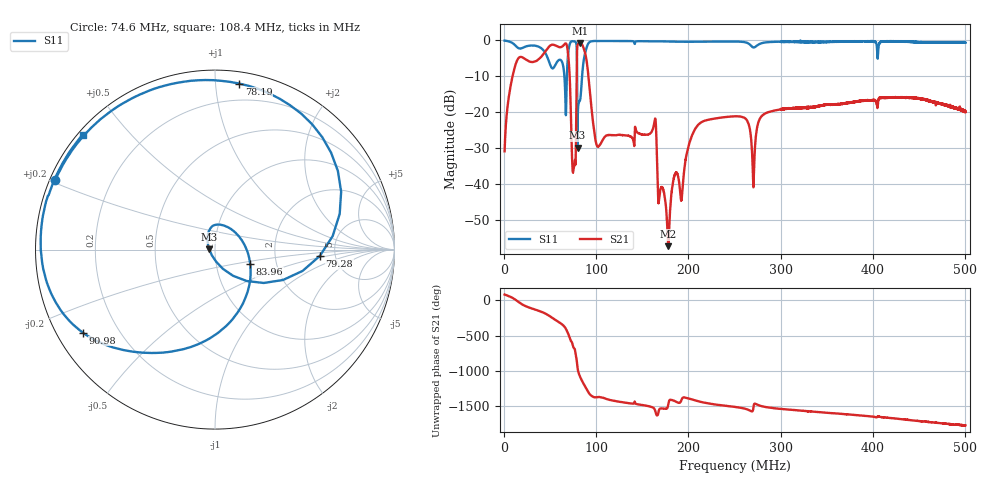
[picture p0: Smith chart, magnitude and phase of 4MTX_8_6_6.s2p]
! NanoVNA-App
! Date: 2026-08-18 21:33:03
! Start: 1MHz Stop: 500MHz Points: 6401
! S-Parameter data: F S11 S21 S12 S22
# Hz S RI R 50
!  Frequency  S11_Real  S11_Imag  S21_Real  S21_Imag  S12_Real  S12_Imag  S22_Real  S22_Imag
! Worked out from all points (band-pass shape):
!   6401 points, 1 MHz to 500 MHz, reference 50 ohm
!   highest |S21| = -0.77 dB at 82.48 MHz (marker M1); lowest = -57.4 dB at 178.2 MHz (marker M2)
!   |S21| within 3 dB of the highest: 43.21 MHz to 69.7 MHz (26.49 MHz wide, 46.9 % of centre); 79.39 MHz to 88.37 MHz (8.974 MHz wide, 10.7 % of centre)
!   lowest |S11| = -29.9 dB at 79.98 MHz (marker M3), VSWR 1.07, Z = 46.9 + j0.138 ohm
!   |S11| at or under -10 dB: 65.74 MHz to 68.46 MHz (2.723 MHz wide, 4.06 % of centre); 79.53 MHz to 84.9 MHz (5.373 MHz wide, 6.54 % of centre)
!   S12 and S22 are empty: the file has one direction only
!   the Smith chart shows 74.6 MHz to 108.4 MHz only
!   S11 on the Smith chart (normalised r, x): 74.6 MHz: 0.02, +0.21; 78.19 MHz: 0.08, +1.15; 79.28 MHz: 3.78, -0.40; 83.96 MHz: 1.46, -0.24; 90.98 MHz: 0.08, -0.29; 108.4 MHz: 0.01, +0.37
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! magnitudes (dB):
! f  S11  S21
! 1 MHz  -0.1  -30.9
! 15.5 MHz  -2.1  -5.2
! 66.18 MHz  -11.9  -1.0
! 74.6 MHz  -0.3  -36.1
! 78.19 MHz  -0.6  -29.4
! 79.28 MHz  -4.6  -5.1
! 79.98 MHz  -29.9  -1.3
! 82.48 MHz  -16.8  -0.8
! 83.96 MHz  -13.5  -0.9
! 84.19 MHz  -12.6  -1.0
! 90.98 MHz  -1.2  -8.1
! 108.4 MHz  -0.2  -27.3
! 162.7 MHz  -0.3  -23.5
! 167.4 MHz  -0.3  -44.3
! 178.2 MHz  -0.3  -57.4
! 207.8 MHz  -0.4  -24.5
! 250.5 MHz  -0.4  -21.2
! 270.5 MHz  -2.0  -41.0
! 280.6 MHz  -0.7  -20.8
! 333.7 MHz  -0.5  -18.7
! 416.9 MHz  -0.3  -15.9
! 500 MHz  -0.7  -20.1
